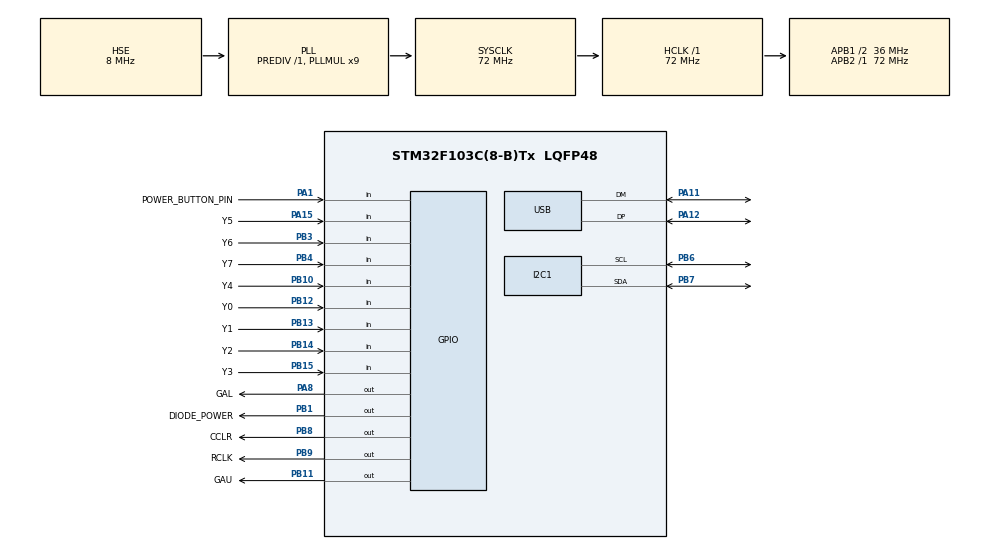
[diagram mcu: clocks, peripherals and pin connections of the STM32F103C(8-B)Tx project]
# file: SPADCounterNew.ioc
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I2C1.I2C_Mode=I2C_Fast
Mcu.Family=STM32F1
Mcu.Name=STM32F103C(8-B)Tx
Mcu.Package=LQFP48
NVIC.PriorityGroup=NVIC_PRIORITYGROUP_4
NVIC.TIM1_UP_IRQn=true\:0\:0\:false\:false\:true\:true\:true\:true
NVIC.TIM2_IRQn=true\:0\:0\:false\:false\:true\:true\:true\:true
NVIC.USB_LP_CAN1_RX0_IRQn=true\:0\:0\:false\:false\:true\:false\:true\:true
PA1.GPIO_Label=POWER_BUTTON_PIN
PA1.GPIO_PuPd=GPIO_PULLUP
PA1.Signal=GPIO_Input
PA11.Mode=Device
PA11.Signal=USB_DM
PA12.Mode=Device
PA12.Signal=USB_DP
PA13.Mode=Serial_Wire
PA13.Signal=SYS_JTMS-SWDIO
PA14.Mode=Serial_Wire
PA14.Signal=SYS_JTCK-SWCLK
PA15.GPIO_Label=Y5
PA15.GPIO_Mode=GPIO_MODE_INPUT
PA15.Signal=GPIO_Input
PA8.GPIO_Label=GAL
PA8.Signal=GPIO_Output
PB1.GPIO_Label=DIODE_POWER
PB1.Signal=GPIO_Output
PB10.GPIO_Label=Y4
PB10.GPIO_Mode=GPIO_MODE_INPUT
PB10.Signal=GPIO_Input
PB11.GPIO_Label=GAU
PB11.Signal=GPIO_Output
PB12.GPIO_Label=Y0
PB12.GPIO_Mode=GPIO_MODE_INPUT
PB12.Signal=GPIO_Input
PB13.GPIO_Label=Y1
PB13.GPIO_Mode=GPIO_MODE_INPUT
PB13.Signal=GPIO_Input
PB14.GPIO_Label=Y2
PB14.GPIO_Mode=GPIO_MODE_INPUT
PB14.Signal=GPIO_Input
PB15.GPIO_Label=Y3
PB15.GPIO_Mode=GPIO_MODE_INPUT
PB15.Signal=GPIO_Input
PB3.GPIO_Label=Y6
PB3.GPIO_Mode=GPIO_MODE_INPUT
PB3.Signal=GPIO_Input
PB4.GPIO_Label=Y7
PB4.GPIO_Mode=GPIO_MODE_INPUT
PB4.Signal=GPIO_Input
PB6.Mode=I2C
PB6.Signal=I2C1_SCL
PB7.Mode=I2C
PB7.Signal=I2C1_SDA
PB8.GPIO_Label=CCLR
PB8.Signal=GPIO_Output
PB9.GPIO_Label=RCLK
PB9.Signal=GPIO_Output
PD0-OSC_IN.Mode=HSE-External-Oscillator
PD0-OSC_IN.Signal=RCC_OSC_IN
PD1-OSC_OUT.Mode=HSE-External-Oscillator
PD1-OSC_OUT.Signal=RCC_OSC_OUT
ProjectManager.HeapSize=0x200
ProjectManager.StackSize=0x400
ProjectManager.TargetToolchain=STM32CubeIDE
RCC.AHBFreq_Value=72000000
RCC.APB1CLKDivider=RCC_HCLK_DIV2
RCC.APB1Freq_Value=36000000
RCC.APB1TimFreq_Value=72000000
RCC.APB2Freq_Value=72000000
RCC.APB2TimFreq_Value=72000000
RCC.HCLKFreq_Value=72000000
RCC.PLLMUL=RCC_PLL_MUL9
RCC.SYSCLKFreq_VALUE=72000000
RCC.SYSCLKSource=RCC_SYSCLKSOURCE_PLLCLK
RCC.USBFreq_Value=48000000
RCC.USBPrescaler=RCC_USBCLKSOURCE_PLL_DIV1_5
TIM1.Period=1000-1
TIM1.Prescaler=72-1
TIM1.TIM_MasterOutputTrigger=TIM_TRGO_UPDATE
TIM2.Period=1000-1
TIM2.Prescaler=7200-1
USB_DEVICE.CLASS_NAME_FS=CDC
USB_DEVICE.MANUFACTURER_STRING=LUMS
USB_DEVICE.PID_CDC_FS=22139
USB_DEVICE.PRODUCT_STRING_CDC_FS=SPAD Pulse Counter
USB_DEVICE.VID=21370
USB_DEVICE.VirtualMode=Cdc
USB_DEVICE.VirtualModeFS=Cdc_FS
VP_TIM1_VS_ClockSourceINT.Mode=Internal
VP_TIM2_VS_ClockSourceINT.Mode=Internal
VP_USB_DEVICE_VS_USB_DEVICE_CDC_FS.Mode=CDC_FS
board=custom

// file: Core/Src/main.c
/* USER CODE BEGIN Header */
/**
  ******************************************************************************
  * @file           : main.c
  * @brief          : Main program body
  ******************************************************************************
  * @attention
  *
  * Copyright (c) 2025 STMicroelectronics.
  * All rights reserved.
  *
  * This software is licensed under terms that can be found in the LICENSE file
  * in the root directory of this software component.
  * If no LICENSE file comes with this software, it is provided AS-IS.
  *
  ******************************************************************************
  */
/* USER CODE END Header */
#include "main.h"
#include "usb_device.h"

/* USER CODE BEGIN Includes */
#include "fonts.h"
#include "ssd1306.h"
#include "math.h"
#include "ctype.h"
#include "usbd_cdc_if.h"
/* USER CODE END Includes */

/* USER CODE BEGIN PD */
const uint16_t data_pins[8] = {
    GPIO_PIN_12, GPIO_PIN_13, GPIO_PIN_14, GPIO_PIN_15,  // PB12-PB15
    GPIO_PIN_10, GPIO_PIN_15, GPIO_PIN_3, GPIO_PIN_4     // PB10, PA15, PB3, PB4
};
GPIO_TypeDef* data_ports[8] = {
    GPIOB, GPIOB, GPIOB, GPIOB,
    GPIOB, GPIOA, GPIOB, GPIOB
};

uint16_t MAX_COUNT_RATE = 1000; // Per 1 ms
volatile uint32_t total_counts = 0;
volatile uint8_t update_display = 0;
uint8_t power_pin_state = 0;
uint32_t display_counts = 0;
const char serialNumber[] = "0130";

volatile uint8_t overflow_count = 0; // How many times overflow was reached
volatile uint8_t overflow = 0; // Overflow flag
#define MAX_OVERFLOW_COUNT 10 // Trigger overflow if this value is reached in 100 ms
/* USER CODE END PD */

I2C_HandleTypeDef hi2c1;

TIM_HandleTypeDef htim1;
TIM_HandleTypeDef htim2;

void SystemClock_Config(void);
static void MX_GPIO_Init(void);
static void MX_I2C1_Init(void);
static void MX_TIM1_Init(void);
static void MX_TIM2_Init(void);
/* USER CODE BEGIN PFP */
void convertToScientific(uint32_t num, char* buffer);
void display_on_lcd(void);
void trigger_overflow(void);
void processCommand(void);
uint8_t read_counter_value(void);
void SSD1306_Clear(void);
void check_power_button(void);
void update_counts(void);
/* USER CODE END PFP */

int main(void)
{

  /* MCU Configuration--------------------------------------------------------*/

  /* Reset of all peripherals, Initializes the Flash interface and the Systick. */
  HAL_Init();

  /* Configure the system clock */
  SystemClock_Config();

  /* Initialize all configured peripherals */
  MX_GPIO_Init();
  MX_USB_DEVICE_Init();
  MX_I2C1_Init();
  MX_TIM1_Init();
  MX_TIM2_Init();
  /* USER CODE BEGIN 2 */
	HAL_GPIO_WritePin(GPIOB, DIODE_POWER_Pin, GPIO_PIN_RESET);
	HAL_GPIO_WritePin(GPIOA, GAL_Pin, GPIO_PIN_RESET);
	HAL_GPIO_WritePin(GPIOB, GAU_Pin, GPIO_PIN_RESET);
	HAL_GPIO_WritePin(GPIOB, CCLR_Pin, GPIO_PIN_SET);

	if (ssd1306_Init(&hi2c1) != 0) { Error_Handler();}

	ssd1306_Fill(Black);
	ssd1306_SetCursor(0, 0);
	ssd1306_WriteString("SPAD PULSE", Font_11x18, White);
	ssd1306_SetCursor(8, 36);
	ssd1306_WriteString("COUNTER", Font_11x18, White);
	ssd1306_UpdateScreen(&hi2c1);
	HAL_Delay(1000);

	// Start timers
	HAL_TIM_Base_Start_IT(&htim1);
	HAL_TIM_Base_Start_IT(&htim2);
  /* USER CODE END 2 */

  /* Infinite loop */
  /* USER CODE BEGIN WHILE */
  while (1)
  {

	if(overflow){trigger_overflow();}

	if(update_display) {
		__disable_irq();
		display_counts = total_counts;
		total_counts = 0;
		overflow_count = 0;
		__enable_irq();
		display_on_lcd();
		update_display = 0;
	}

	check_power_button();
	processCommand();
    /* USER CODE END WHILE */

  }
}

void SystemClock_Config(void)
{
  RCC_OscInitTypeDef RCC_OscInitStruct = {0};
  RCC_ClkInitTypeDef RCC_ClkInitStruct = {0};
  RCC_PeriphCLKInitTypeDef PeriphClkInit = {0};

  /** Initializes the RCC Oscillators according to the specified parameters
  * in the RCC_OscInitTypeDef structure.
  */
  RCC_OscInitStruct.OscillatorType = RCC_OSCILLATORTYPE_HSE;
  RCC_OscInitStruct.HSEState = RCC_HSE_ON;
  RCC_OscInitStruct.HSEPredivValue = RCC_HSE_PREDIV_DIV1;
  RCC_OscInitStruct.HSIState = RCC_HSI_ON;
  RCC_OscInitStruct.PLL.PLLState = RCC_PLL_ON;
  RCC_OscInitStruct.PLL.PLLSource = RCC_PLLSOURCE_HSE;
  RCC_OscInitStruct.PLL.PLLMUL = RCC_PLL_MUL9;
  if (HAL_RCC_OscConfig(&RCC_OscInitStruct) != HAL_OK)
  {
    Error_Handler();
  }

  /** Initializes the CPU, AHB and APB buses clocks
  */
  RCC_ClkInitStruct.ClockType = RCC_CLOCKTYPE_HCLK|RCC_CLOCKTYPE_SYSCLK
                              |RCC_CLOCKTYPE_PCLK1|RCC_CLOCKTYPE_PCLK2;
  RCC_ClkInitStruct.SYSCLKSource = RCC_SYSCLKSOURCE_PLLCLK;
  RCC_ClkInitStruct.AHBCLKDivider = RCC_SYSCLK_DIV1;
  RCC_ClkInitStruct.APB1CLKDivider = RCC_HCLK_DIV2;
  RCC_ClkInitStruct.APB2CLKDivider = RCC_HCLK_DIV1;

  if (HAL_RCC_ClockConfig(&RCC_ClkInitStruct, FLASH_LATENCY_2) != HAL_OK)
  {
    Error_Handler();
  }
  PeriphClkInit.PeriphClockSelection = RCC_PERIPHCLK_USB;
  PeriphClkInit.UsbClockSelection = RCC_USBCLKSOURCE_PLL_DIV1_5;
  if (HAL_RCCEx_PeriphCLKConfig(&PeriphClkInit) != HAL_OK)
  {
    Error_Handler();
  }
}

static void MX_I2C1_Init(void)
{

  hi2c1.Instance = I2C1;
  hi2c1.Init.ClockSpeed = 400000;
  hi2c1.Init.DutyCycle = I2C_DUTYCYCLE_2;
  hi2c1.Init.OwnAddress1 = 0;
  hi2c1.Init.AddressingMode = I2C_ADDRESSINGMODE_7BIT;
  hi2c1.Init.DualAddressMode = I2C_DUALADDRESS_DISABLE;
  hi2c1.Init.OwnAddress2 = 0;
  hi2c1.Init.GeneralCallMode = I2C_GENERALCALL_DISABLE;
  hi2c1.Init.NoStretchMode = I2C_NOSTRETCH_DISABLE;
  if (HAL_I2C_Init(&hi2c1) != HAL_OK)
  {
    Error_Handler();
  }

}

static void MX_TIM1_Init(void)
{

  TIM_ClockConfigTypeDef sClockSourceConfig = {0};
  TIM_MasterConfigTypeDef sMasterConfig = {0};

  htim1.Instance = TIM1;
  htim1.Init.Prescaler = 72-1;
  htim1.Init.CounterMode = TIM_COUNTERMODE_UP;
  htim1.Init.Period = 1000-1;
  htim1.Init.ClockDivision = TIM_CLOCKDIVISION_DIV1;
  htim1.Init.RepetitionCounter = 0;
  htim1.Init.AutoReloadPreload = TIM_AUTORELOAD_PRELOAD_DISABLE;
  if (HAL_TIM_Base_Init(&htim1) != HAL_OK)
  {
    Error_Handler();
  }
  sClockSourceConfig.ClockSource = TIM_CLOCKSOURCE_INTERNAL;
  if (HAL_TIM_ConfigClockSource(&htim1, &sClockSourceConfig) != HAL_OK)
  {
    Error_Handler();
  }
  sMasterConfig.MasterOutputTrigger = TIM_TRGO_UPDATE;
  sMasterConfig.MasterSlaveMode = TIM_MASTERSLAVEMODE_DISABLE;
  if (HAL_TIMEx_MasterConfigSynchronization(&htim1, &sMasterConfig) != HAL_OK)
  {
    Error_Handler();
  }

}

static void MX_TIM2_Init(void)
{

  TIM_ClockConfigTypeDef sClockSourceConfig = {0};
  TIM_MasterConfigTypeDef sMasterConfig = {0};

  htim2.Instance = TIM2;
  htim2.Init.Prescaler = 7200-1;
  htim2.Init.CounterMode = TIM_COUNTERMODE_UP;
  htim2.Init.Period = 1000-1;
  htim2.Init.ClockDivision = TIM_CLOCKDIVISION_DIV1;
  htim2.Init.AutoReloadPreload = TIM_AUTORELOAD_PRELOAD_DISABLE;
  if (HAL_TIM_Base_Init(&htim2) != HAL_OK)
  {
    Error_Handler();
  }
  sClockSourceConfig.ClockSource = TIM_CLOCKSOURCE_INTERNAL;
  if (HAL_TIM_ConfigClockSource(&htim2, &sClockSourceConfig) != HAL_OK)
  {
    Error_Handler();
  }
  sMasterConfig.MasterOutputTrigger = TIM_TRGO_RESET;
  sMasterConfig.MasterSlaveMode = TIM_MASTERSLAVEMODE_DISABLE;
  if (HAL_TIMEx_MasterConfigSynchronization(&htim2, &sMasterConfig) != HAL_OK)
  {
    Error_Handler();
  }

}

static void MX_GPIO_Init(void)
{
  GPIO_InitTypeDef GPIO_InitStruct = {0};

  /* GPIO Ports Clock Enable */
  __HAL_RCC_GPIOD_CLK_ENABLE();
  __HAL_RCC_GPIOA_CLK_ENABLE();
  __HAL_RCC_GPIOB_CLK_ENABLE();

  /*Configure GPIO pin Output Level */
  HAL_GPIO_WritePin(GPIOB, DIODE_POWER_Pin|GAU_Pin|CCLR_Pin|RCLK_Pin, GPIO_PIN_RESET);

  /*Configure GPIO pin Output Level */
  HAL_GPIO_WritePin(GAL_GPIO_Port, GAL_Pin, GPIO_PIN_RESET);

  /*Configure GPIO pin : POWER_BUTTON_PIN_Pin */
  GPIO_InitStruct.Pin = POWER_BUTTON_PIN_Pin;
  GPIO_InitStruct.Mode = GPIO_MODE_INPUT;
  GPIO_InitStruct.Pull = GPIO_PULLUP;
  HAL_GPIO_Init(POWER_BUTTON_PIN_GPIO_Port, &GPIO_InitStruct);

  /*Configure GPIO pins : DIODE_POWER_Pin GAU_Pin CCLR_Pin RCLK_Pin */
  GPIO_InitStruct.Pin = DIODE_POWER_Pin|GAU_Pin|CCLR_Pin|RCLK_Pin;
  GPIO_InitStruct.Mode = GPIO_MODE_OUTPUT_PP;
  GPIO_InitStruct.Pull = GPIO_NOPULL;
  GPIO_InitStruct.Speed = GPIO_SPEED_FREQ_LOW;
  HAL_GPIO_Init(GPIOB, &GPIO_InitStruct);

  /*Configure GPIO pins : Y4_Pin Y0_Pin Y1_Pin Y2_Pin
                           Y3_Pin Y6_Pin Y7_Pin */
  GPIO_InitStruct.Pin = Y4_Pin|Y0_Pin|Y1_Pin|Y2_Pin
                          |Y3_Pin|Y6_Pin|Y7_Pin;
  GPIO_InitStruct.Mode = GPIO_MODE_INPUT;
  GPIO_InitStruct.Pull = GPIO_NOPULL;
  HAL_GPIO_Init(GPIOB, &GPIO_InitStruct);

  /*Configure GPIO pin : GAL_Pin */
  GPIO_InitStruct.Pin = GAL_Pin;
  GPIO_InitStruct.Mode = GPIO_MODE_OUTPUT_PP;
  GPIO_InitStruct.Pull = GPIO_NOPULL;
  GPIO_InitStruct.Speed = GPIO_SPEED_FREQ_LOW;
  HAL_GPIO_Init(GAL_GPIO_Port, &GPIO_InitStruct);

  /*Configure GPIO pin : Y5_Pin */
  GPIO_InitStruct.Pin = Y5_Pin;
  GPIO_InitStruct.Mode = GPIO_MODE_INPUT;
  GPIO_InitStruct.Pull = GPIO_NOPULL;
  HAL_GPIO_Init(Y5_GPIO_Port, &GPIO_InitStruct);

}

/* USER CODE BEGIN 4 */
void update_counts(){
	// Move register
	HAL_GPIO_WritePin(RCLK_GPIO_Port, RCLK_Pin, GPIO_PIN_SET);
	HAL_GPIO_WritePin(RCLK_GPIO_Port, RCLK_Pin, GPIO_PIN_RESET);

	// Read lower byte
	HAL_GPIO_WritePin(GAL_GPIO_Port, GAL_Pin, GPIO_PIN_RESET);
	HAL_GPIO_WritePin(GAU_GPIO_Port, GAU_Pin, GPIO_PIN_SET);
	uint8_t lower = read_counter_value();

	// Read upper byte
	HAL_GPIO_WritePin(GAL_GPIO_Port, GAL_Pin, GPIO_PIN_SET);
	HAL_GPIO_WritePin(GAU_GPIO_Port, GAU_Pin, GPIO_PIN_RESET);
	uint8_t upper = read_counter_value();

	// Reset the register
	HAL_GPIO_WritePin(CCLR_GPIO_Port, CCLR_Pin, GPIO_PIN_RESET);
	HAL_GPIO_WritePin(CCLR_GPIO_Port, CCLR_Pin, GPIO_PIN_SET);

	uint16_t full = (upper << 8) | lower;

	if(full > MAX_COUNT_RATE) {overflow_count += 1;}

	if(overflow_count > MAX_OVERFLOW_COUNT) {
	  HAL_GPIO_WritePin(DIODE_POWER_GPIO_Port, DIODE_POWER_Pin, GPIO_PIN_RESET);
	  power_pin_state = 0;
	  overflow = 1;
	  HAL_TIM_Base_Stop_IT(&htim1);
	  HAL_TIM_Base_Stop_IT(&htim2);
	}
	total_counts += full;
}

/* Timer Interrupt Handlers */
void HAL_TIM_PeriodElapsedCallback(TIM_HandleTypeDef *htim) {
	// 1ms update
  if (htim->Instance == TIM1) {update_counts();}

  // 100ms display update
  else if (htim->Instance == TIM2) { update_display = 1;}

}

/* Helper Functions */
uint8_t read_counter_value() {
  uint8_t val = 0;
  for(int i=0; i<8; i++) {
    if(HAL_GPIO_ReadPin(data_ports[i], data_pins[i]))
      val |= (1 << i);
  }
  return val;
}

void convertToScientific(unsigned long num, char* buffer) {
  if (num == 0) {
    strcpy(buffer, "0.00e0");
    return;
  }

  int exponent = 0;
  unsigned long temp = num;
  while (temp >= 10) {
    temp /= 10;
    exponent++;
  }

  unsigned long power_of_10 = 1;
  for (int i = 0; i < exponent; i++) {
    power_of_10 *= 10;
  }

  float mantissa = (float)num / (float)power_of_10;
  mantissa = roundf(mantissa * 100.0) / 100.0; // Round to two decimals

  // Check if rounding caused overflow to 10.0
  if (mantissa >= 10.0) {
    mantissa /= 10.0;
    exponent++;
  }

  // Split mantissa into integer and decimal parts
  int mantissaInt = (int)(mantissa * 100 + 0.5); // Ensure correct rounding
  snprintf(buffer, 20, "%d.%02de%d", mantissaInt / 100, mantissaInt % 100, exponent);
}

void display_on_lcd() {

	ssd1306_Fill(Black);

	if(power_pin_state){
		char buf[32];
		display_counts *= 10; // Convert from counts per 100 ms to cps
		convertToScientific(display_counts, buf);
		ssd1306_SetCursor(16,0);
		ssd1306_WriteString(buf, Font_16x26, White);
		ssd1306_SetCursor(40,32);
		ssd1306_WriteString("cps", Font_16x26, White);

	}
	else{
		ssd1306_SetCursor(24,0);
		ssd1306_WriteString("Power", Font_16x26, White);
		ssd1306_SetCursor(40,32);
		ssd1306_WriteString("off", Font_16x26, White);
	}

	ssd1306_UpdateScreen(&hi2c1);
}

void trigger_overflow() {
	total_counts = 0;
	update_display = 0;
	overflow_count = 0;

	static uint8_t flicker = 0;
	static uint8_t middle = SSD1306_HEIGHT / 4;

	ssd1306_Fill(Black);
	if(flicker){flicker = 0;}
	else{
	ssd1306_SetCursor(0, middle);
	ssd1306_WriteString("OVRFLW!", Font_16x26, White);
	flicker = 1;
	}
	ssd1306_UpdateScreen(&hi2c1);
	HAL_Delay(200);

}

void toggle_power() {
  power_pin_state = !power_pin_state;
  HAL_GPIO_WritePin(DIODE_POWER_GPIO_Port, DIODE_POWER_Pin,
                    power_pin_state ? GPIO_PIN_SET : GPIO_PIN_RESET);
  if(overflow) {
    overflow = 0;
    HAL_TIM_Base_Start_IT(&htim1);
    HAL_TIM_Base_Start_IT(&htim2);
  }
}
// Helper function to trim whitespace
char* trim_whitespace(char *str) {
    while(isspace((unsigned char)*str)) str++;
    if(*str == 0) return str;

    char *end = str + strlen(str) - 1;
    while(end > str && isspace((unsigned char)*end)) end--;
    end[1] = '\0';
    return str;
}

void processCommand(void) {
    if(command_ready) {
        char *cmd = trim_whitespace((char*)cdc_rx_buffer);
        char response[128];

        if(strcmp(cmd, "IDN?") == 0) {
            snprintf(response, sizeof(response), "SPAD Pulse Counter v1.0\r\n");
        }
        else if(strcmp(cmd, "SERIAL?") == 0) {
            snprintf(response, sizeof(response), "%s\r\n", serialNumber);
        }
        else if(strcmp(cmd, "COUNTS?") == 0) {
            snprintf(response, sizeof(response), "%lu\r\n", display_counts);
        }
        else if(strcmp(cmd, "TOGGLE_POWER") == 0) {
            toggle_power();
            snprintf(response, sizeof(response), "OK\r\n");
        }
        else if(strcmp(cmd, "POWER?") == 0) {
            snprintf(response, sizeof(response), "%d\r\n", power_pin_state);
        }
        else if(strcmp(cmd, "MAX_COUNT?") == 0) {
        	snprintf(response, sizeof(response), "%d\r\n", MAX_COUNT_RATE);
        }
        else if(strncmp(cmd, "SET_MAX_COUNT ", 13) == 0) {
			char* value_str = cmd + 13;
			uint16_t value = atoi(value_str);
			if(value > 50000){
				MAX_COUNT_RATE = 50000; // Counter limit is around 50 MHz
				snprintf(response, sizeof(response), "Limit too large, setting 50 Mcps\r\n");
				}
			else if(value < 0){
				MAX_COUNT_RATE = 1000;
				snprintf(response, sizeof(response), "Limit cannot be negative, setting 1 Mcps\r\n");
				}
			else{
				MAX_COUNT_RATE = value;
				snprintf(response, sizeof(response), "OK\r\n");
			}
		}
        else {
            snprintf(response, sizeof(response), "ERROR: Unknown command '%s'\r\n", cmd);
        }

        // Transmit response
        CDC_Transmit_FS((uint8_t*)response, strlen(response));
        command_ready = 0;
    }
}

void check_power_button(){
	static uint32_t lastButtonPress = 0;
	uint32_t currentMillis = HAL_GetTick();

	if (HAL_GPIO_ReadPin(POWER_BUTTON_PIN_GPIO_Port, POWER_BUTTON_PIN_Pin) == GPIO_PIN_SET && (currentMillis - lastButtonPress > 500)) {
	    lastButtonPress = currentMillis;
	    toggle_power();
	}
}
/* USER CODE END 4 */

void Error_Handler(void)
{
  __disable_irq();
  while (1)
  {
  }
}
